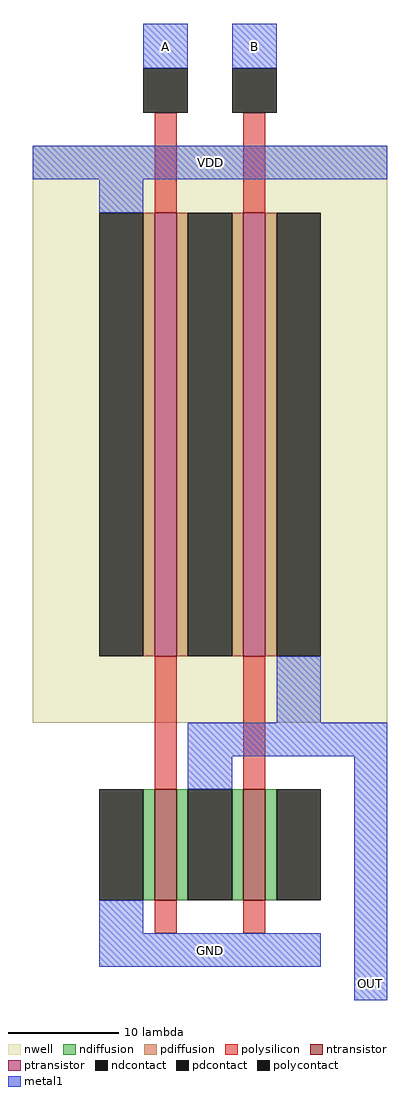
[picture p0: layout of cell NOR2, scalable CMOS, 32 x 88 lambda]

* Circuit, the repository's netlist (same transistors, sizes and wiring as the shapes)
* SPICE3 file created from NOR2.ext - technology: scmos

.option scale=0.09u

M1000 a_7_22# A VDD w_n6_16# cmosp w=40 l=2
+  ad=240 pd=92 as=200 ps=90
M1001 a_15_0# B OUT Gnd cmosn w=10 l=2
+  ad=50 pd=30 as=60 ps=32
M1002 OUT B a_7_22# w_n6_16# cmosp w=40 l=2
+  ad=200 pd=90 as=0 ps=0
M1003 OUT A GND Gnd cmosn w=10 l=2
+  ad=0 pd=0 as=50 ps=30

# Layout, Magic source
magic
tech scmos
<< nwell >>
rect -6 16 26 68
<< ntransistor >>
rect 5 0 7 10
rect 13 0 15 10
<< ptransistor >>
rect 5 22 7 62
rect 13 22 15 62
<< ndiffusion >>
rect 4 0 5 10
rect 7 0 8 10
rect 12 0 13 10
rect 15 0 16 10
<< pdiffusion >>
rect 4 22 5 62
rect 7 22 8 62
rect 12 22 13 62
rect 15 22 16 62
<< ndcontact >>
rect 0 0 4 10
rect 8 0 12 10
rect 16 0 20 10
<< pdcontact >>
rect 0 22 4 62
rect 8 22 12 62
rect 16 22 20 62
<< polysilicon >>
rect 5 62 7 71
rect 13 62 15 71
rect 5 10 7 22
rect 13 10 15 22
rect 5 -3 7 0
rect 13 -3 15 0
<< polycontact >>
rect 4 71 8 75
rect 12 71 16 75
<< metal1 >>
rect 4 75 8 79
rect 12 75 16 79
rect -6 65 26 68
rect 0 62 4 65
rect 16 16 20 22
rect 8 13 26 16
rect 8 10 12 13
rect 0 -3 4 0
rect 0 -6 20 -3
rect 23 -9 26 13
<< labels >>
rlabel metal1 4 75 8 79 5 A
rlabel metal1 12 75 16 79 5 B
rlabel metal1 -6 65 26 68 1 VDD
rlabel metal1 0 -6 20 -3 1 GND
rlabel metal1 23 -9 26 -6 8 OUT
<< end >>
